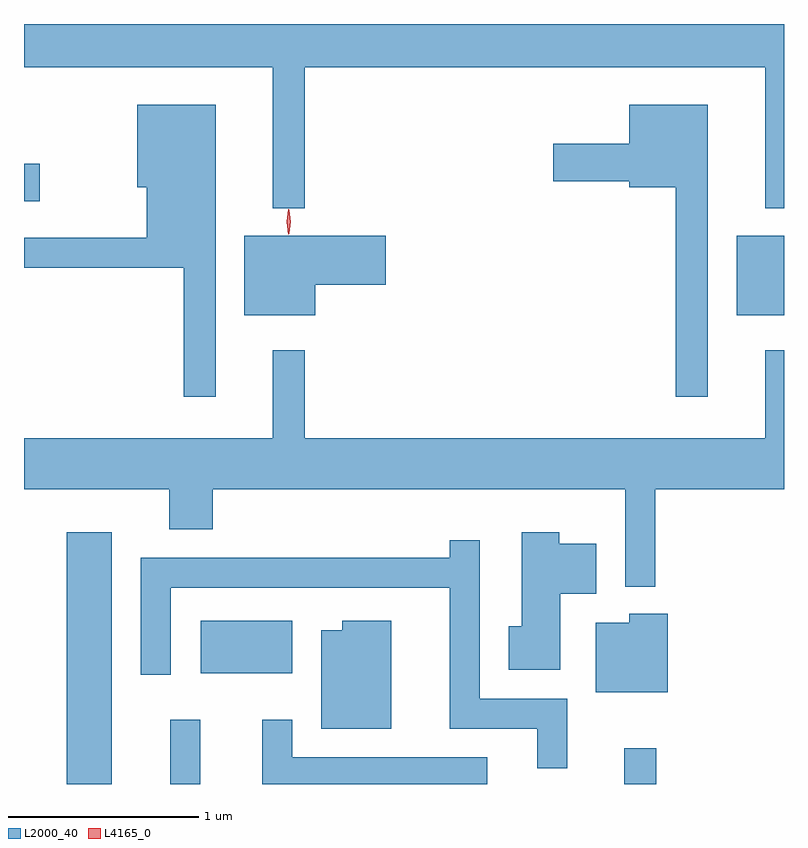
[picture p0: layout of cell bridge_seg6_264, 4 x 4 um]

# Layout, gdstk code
import gdstk
lib = gdstk.Library(unit=1e-6, precision=1e-09)
def R(c, l, rs):  # rectangles x0, y0, x1, y1
    for r in rs: c.add(gdstk.rectangle(r[:2], r[2:], *l))
def P(c, l, *ps):  # polygons
    for p in ps: c.add(gdstk.Polygon(p, *l))
L2000_40 = (2000, 40)
L4165_0 = (4165, 0)

bridge_seg6_264 = lib.new_cell('bridge_seg6_264')
R(bridge_seg6_264, L2000_40, [(1276.456,1564.024,1276.694,1565.349), (1277.001,1564.024,1277.159,1564.363), (1279.391,1564.024,1279.559,1564.213), (1277.161,1564.606,1277.644,1564.884), (1279.981,1566.491,1280.231,1566.909), (1276.231,1567.091,1276.314,1567.289)])
P(bridge_seg6_264, L2000_40, [(1277.709,1567.796),(1280.131,1567.796),(1280.131,1567.053),(1280.231,1567.053),(1280.231,1568.024),(1276.231,1568.024),(1276.231,1567.796),(1277.541,1567.796),(1277.541,1567.053),(1277.709,1567.053)],
  [(1277.239,1567.599),(1276.826,1567.599),(1276.826,1567.166),(1276.876,1567.166),(1276.876,1566.899),(1276.231,1566.899),(1276.231,1566.741),(1277.071,1566.741),(1277.071,1566.063),(1277.239,1566.063)],
  [(1279.829,1567.599),(1279.416,1567.599),(1279.416,1567.394),(1279.016,1567.394),(1279.016,1567.196),(1279.416,1567.196),(1279.416,1567.166),(1279.661,1567.166),(1279.661,1566.063),(1279.829,1566.063)],
  [(1277.764,1566.651),(1278.134,1566.651),(1278.134,1566.909),(1277.391,1566.909),(1277.391,1566.491),(1277.764,1566.491)],
  [(1279.554,1565.576),(1280.231,1565.576),(1280.231,1566.308),(1280.131,1566.308),(1280.131,1565.844),(1277.709,1565.844),(1277.709,1566.308),(1277.541,1566.308),(1277.541,1565.844),(1276.231,1565.844),(1276.231,1565.576),(1276.996,1565.576),(1276.996,1565.366),(1277.224,1565.366),(1277.224,1565.576),(1279.396,1565.576),(1279.396,1565.063),(1279.554,1565.063)],
  [(1279.054,1565.026),(1279.244,1565.026),(1279.244,1565.289),(1279.049,1565.289),(1279.049,1565.349),(1278.851,1565.349),(1278.851,1564.854),(1278.781,1564.854),(1278.781,1564.626),(1279.054,1564.626)],
  [(1279.089,1564.474),(1278.629,1564.474),(1278.629,1565.308),(1278.471,1565.308),(1278.471,1565.214),(1276.846,1565.214),(1276.846,1564.598),(1277.004,1564.598),(1277.004,1565.056),(1278.471,1565.056),(1278.471,1564.316),(1278.931,1564.316),(1278.931,1564.108),(1279.089,1564.108)],
  [(1279.619,1564.919),(1279.416,1564.919),(1279.416,1564.874),(1279.241,1564.874),(1279.241,1564.506),(1279.619,1564.506)],
  [(1278.164,1564.884),(1277.906,1564.884),(1277.906,1564.834),(1277.796,1564.834),(1277.796,1564.316),(1278.164,1564.316)],
  [(1278.669,1564.164),(1277.644,1564.164),(1277.644,1564.363),(1277.486,1564.363),(1277.486,1564.024),(1278.669,1564.024)])
P(bridge_seg6_264, L4165_0, [(1277.625,1566.92),(1277.616,1566.983),(1277.625,1567.046),(1277.625,1567.047),(1277.626,1567.046),(1277.636,1566.983),(1277.626,1566.92),(1277.626,1566.92)],
  [(1277.621,1566.914),(1277.613,1566.982),(1277.623,1567.05),(1277.623,1567.05),(1277.624,1567.05),(1277.633,1566.982),(1277.622,1566.914),(1277.622,1566.914)])

lib.write_gds('bridge_seg6_264.gds')
